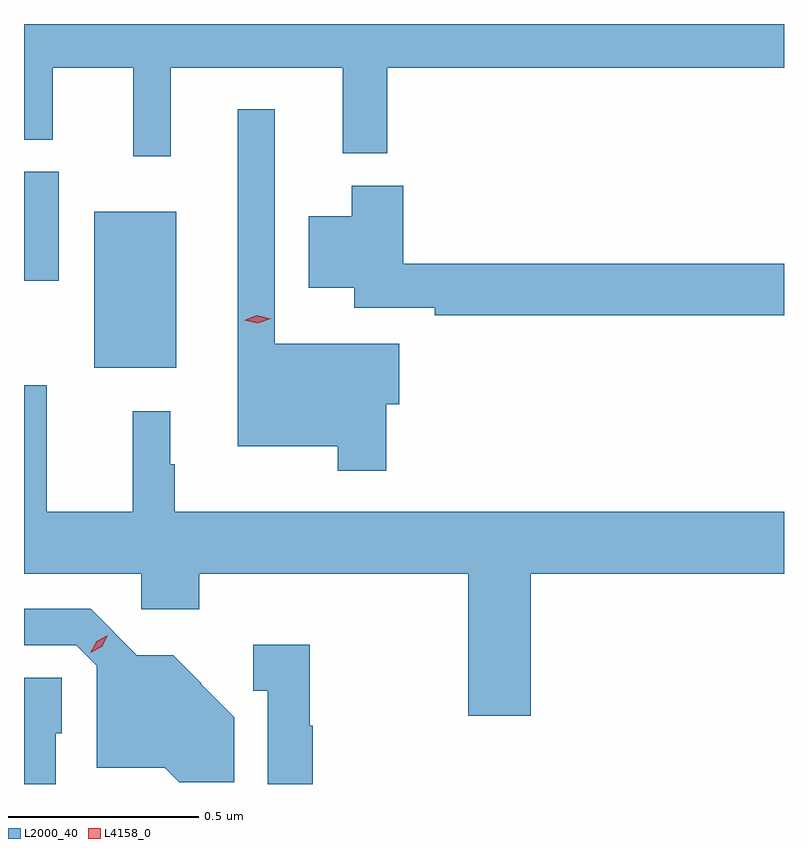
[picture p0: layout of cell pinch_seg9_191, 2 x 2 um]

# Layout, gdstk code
import gdstk
lib = gdstk.Library(unit=1e-6, precision=1e-09)
def R(c, l, rs):  # rectangles x0, y0, x1, y1
    for r in rs: c.add(gdstk.rectangle(r[:2], r[2:], *l))
def P(c, l, *ps):  # polygons
    for p in ps: c.add(gdstk.Polygon(p, *l))
L2000_40 = (2000, 40)
L4158_0 = (4158, 0)

pinch_seg9_191 = lib.new_cell('pinch_seg9_191')
R(pinch_seg9_191, L2000_40, [(391.796,1210.283,392.011,1210.693), (391.611,1210.512,391.702,1210.798)])
P(pinch_seg9_191, L2000_40, [(391.997,1211.072),(392.45,1211.072),(392.45,1210.847),(392.567,1210.847),(392.567,1211.072),(393.611,1211.072),(393.611,1211.187),(391.611,1211.187),(391.611,1210.883),(391.687,1210.883),(391.687,1211.072),(391.898,1211.072),(391.898,1210.839),(391.997,1210.839)],
  [(392.564,1210.187),(392.599,1210.187),(392.599,1210.345),(392.271,1210.345),(392.271,1210.963),(392.174,1210.963),(392.174,1210.076),(392.436,1210.076),(392.436,1210.011),(392.564,1210.011)],
  [(393.611,1210.556),(392.609,1210.556),(392.609,1210.762),(392.474,1210.762),(392.474,1210.681),(392.36,1210.681),(392.36,1210.493),(392.48,1210.493),(392.48,1210.44),(392.692,1210.44),(392.692,1210.42),(393.611,1210.42)],
  [(391.897,1209.904),(391.671,1209.904),(391.671,1210.237),(391.611,1210.237),(391.611,1209.74),(391.92,1209.74),(391.92,1209.647),(392.072,1209.647),(392.072,1209.74),(392.78,1209.74),(392.78,1209.366),(392.944,1209.366),(392.944,1209.74),(393.611,1209.74),(393.611,1209.904),(392.008,1209.904),(392.008,1210.028),(391.996,1210.028),(391.996,1210.168),(391.897,1210.168)],
  [(392.164,1209.363),(392.076,1209.451),(392.078,1209.452),(392.004,1209.526),(391.908,1209.526),(391.786,1209.648),(391.611,1209.648),(391.611,1209.552),(391.749,1209.552),(391.803,1209.498),(391.803,1209.23),(391.981,1209.23),(392.02,1209.191),(392.164,1209.191)],
  [(392.371,1209.34),(392.363,1209.34),(392.363,1209.553),(392.214,1209.553),(392.214,1209.432),(392.252,1209.432),(392.252,1209.187),(392.371,1209.187)],
  [(391.695,1209.321),(391.71,1209.321),(391.71,1209.466),(391.611,1209.466),(391.611,1209.187),(391.695,1209.187)])
P(pinch_seg9_191, L4158_0, [(392.226,1210.4),(392.19,1210.407),(392.189,1210.407),(392.19,1210.408),(392.224,1210.42),(392.26,1210.412),(392.261,1210.412),(392.26,1210.412)],
  [(391.785,1209.533),(391.785,1209.533),(391.802,1209.563),(391.832,1209.578),(391.832,1209.578),(391.832,1209.578),(391.815,1209.548),(391.785,1209.533)])

lib.write_gds('pinch_seg9_191.gds')
